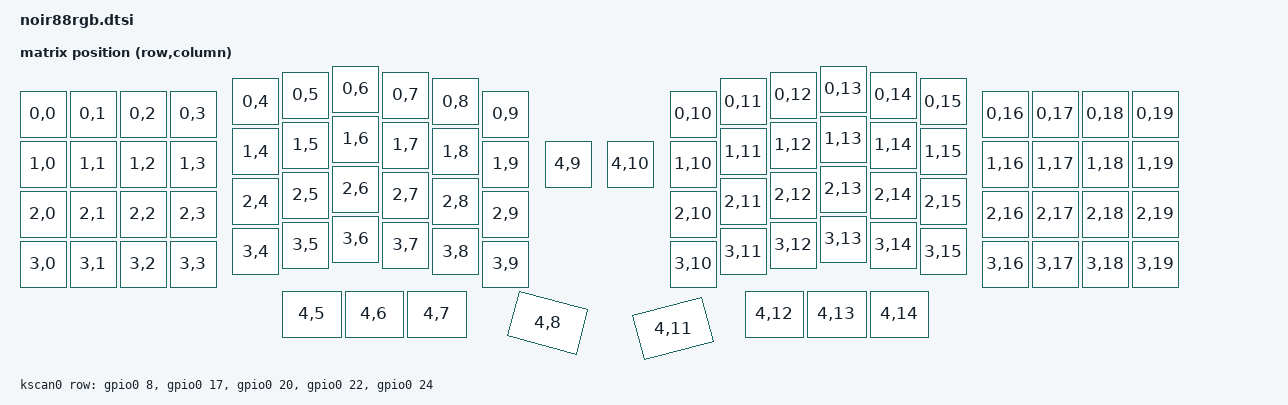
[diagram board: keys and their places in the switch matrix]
/*
 * Copyright (c) 2020 Noir Guo
 *
 * SPDX-License-Identifier: MIT
 */

#include <dt-bindings/zmk/matrix_transform.h>
#include <dt-bindings/led/led.h>
#include <physical_layouts.dtsi>

/ {
    noir88_layout0: noir88_layout_0 {
        compatible = "zmk,physical-layout";
        display-name = "Noir88 RGB";

        kscan = <&kscan0>;
        transform = <&matrix_transform0>;

        keys  //                     w   h    x    y     rot    rx    ry
            = <&key_physical_attrs 100 100    0   50       0     0     0>
            , <&key_physical_attrs 100 100  100   50       0     0     0>
            , <&key_physical_attrs 100 100  200   50       0     0     0>
            , <&key_physical_attrs 100 100  300   50       0     0     0>
            , <&key_physical_attrs 100 100  425   25       0     0     0>
            , <&key_physical_attrs 100 100  525   12       0     0     0>
            , <&key_physical_attrs 100 100  625    0       0     0     0>
            , <&key_physical_attrs 100 100  725   12       0     0     0>
            , <&key_physical_attrs 100 100  825   25       0     0     0>
            , <&key_physical_attrs 100 100  925   50       0     0     0>
            , <&key_physical_attrs 100 100 1300   50       0     0     0>
            , <&key_physical_attrs 100 100 1400   25       0     0     0>
            , <&key_physical_attrs 100 100 1500   12       0     0     0>
            , <&key_physical_attrs 100 100 1600    0       0     0     0>
            , <&key_physical_attrs 100 100 1700   12       0     0     0>
            , <&key_physical_attrs 100 100 1800   25       0     0     0>
            , <&key_physical_attrs 100 100 1925   50       0     0     0>
            , <&key_physical_attrs 100 100 2025   50       0     0     0>
            , <&key_physical_attrs 100 100 2125   50       0     0     0>
            , <&key_physical_attrs 100 100 2225   50       0     0     0>
            , <&key_physical_attrs 100 100    0  150       0     0     0>
            , <&key_physical_attrs 100 100  100  150       0     0     0>
            , <&key_physical_attrs 100 100  200  150       0     0     0>
            , <&key_physical_attrs 100 100  300  150       0     0     0>
            , <&key_physical_attrs 100 100  425  125       0     0     0>
            , <&key_physical_attrs 100 100  525  112       0     0     0>
            , <&key_physical_attrs 100 100  625  100       0     0     0>
            , <&key_physical_attrs 100 100  725  112       0     0     0>
            , <&key_physical_attrs 100 100  825  125       0     0     0>
            , <&key_physical_attrs 100 100  925  150       0     0     0>
            , <&key_physical_attrs 100 100 1300  150       0     0     0>
            , <&key_physical_attrs 100 100 1400  125       0     0     0>
            , <&key_physical_attrs 100 100 1500  112       0     0     0>
            , <&key_physical_attrs 100 100 1600  100       0     0     0>
            , <&key_physical_attrs 100 100 1700  112       0     0     0>
            , <&key_physical_attrs 100 100 1800  125       0     0     0>
            , <&key_physical_attrs 100 100 1925  150       0     0     0>
            , <&key_physical_attrs 100 100 2025  150       0     0     0>
            , <&key_physical_attrs 100 100 2125  150       0     0     0>
            , <&key_physical_attrs 100 100 2225  150       0     0     0>
            , <&key_physical_attrs 100 100    0  250       0     0     0>
            , <&key_physical_attrs 100 100  100  250       0     0     0>
            , <&key_physical_attrs 100 100  200  250       0     0     0>
            , <&key_physical_attrs 100 100  300  250       0     0     0>
            , <&key_physical_attrs 100 100  425  225       0     0     0>
            , <&key_physical_attrs 100 100  525  212       0     0     0>
            , <&key_physical_attrs 100 100  625  200       0     0     0>
            , <&key_physical_attrs 100 100  725  212       0     0     0>
            , <&key_physical_attrs 100 100  825  225       0     0     0>
            , <&key_physical_attrs 100 100  925  250       0     0     0>
            , <&key_physical_attrs 100 100 1300  250       0     0     0>
            , <&key_physical_attrs 100 100 1400  225       0     0     0>
            , <&key_physical_attrs 100 100 1500  212       0     0     0>
            , <&key_physical_attrs 100 100 1600  200       0     0     0>
            , <&key_physical_attrs 100 100 1700  212       0     0     0>
            , <&key_physical_attrs 100 100 1800  225       0     0     0>
            , <&key_physical_attrs 100 100 1925  250       0     0     0>
            , <&key_physical_attrs 100 100 2025  250       0     0     0>
            , <&key_physical_attrs 100 100 2125  250       0     0     0>
            , <&key_physical_attrs 100 100 2225  250       0     0     0>
            , <&key_physical_attrs 100 100    0  350       0     0     0>
            , <&key_physical_attrs 100 100  100  350       0     0     0>
            , <&key_physical_attrs 100 100  200  350       0     0     0>
            , <&key_physical_attrs 100 100  300  350       0     0     0>
            , <&key_physical_attrs 100 100  425  325       0     0     0>
            , <&key_physical_attrs 100 100  525  312       0     0     0>
            , <&key_physical_attrs 100 100  625  300       0     0     0>
            , <&key_physical_attrs 100 100  725  312       0     0     0>
            , <&key_physical_attrs 100 100  825  325       0     0     0>
            , <&key_physical_attrs 100 100  925  350       0     0     0>
            , <&key_physical_attrs 100 100 1300  350       0     0     0>
            , <&key_physical_attrs 100 100 1400  325       0     0     0>
            , <&key_physical_attrs 100 100 1500  312       0     0     0>
            , <&key_physical_attrs 100 100 1600  300       0     0     0>
            , <&key_physical_attrs 100 100 1700  312       0     0     0>
            , <&key_physical_attrs 100 100 1800  325       0     0     0>
            , <&key_physical_attrs 100 100 1925  350       0     0     0>
            , <&key_physical_attrs 100 100 2025  350       0     0     0>
            , <&key_physical_attrs 100 100 2125  350       0     0     0>
            , <&key_physical_attrs 100 100 2225  350       0     0     0>
            , <&key_physical_attrs 125 100  525  450       0     0     0>
            , <&key_physical_attrs 125 100  650  450       0     0     0>
            , <&key_physical_attrs 125 100  775  450       0     0     0>
            , <&key_physical_attrs 150 100 1000  450    1500  1000   450>
            , <&key_physical_attrs 100 100 1050  150       0     0     0>
            , <&key_physical_attrs 100 100 1175  150       0     0     0>
            , <&key_physical_attrs 150 100 1225  500 (-1500)  1225   500>
            , <&key_physical_attrs 125 100 1450  450       0     0     0>
            , <&key_physical_attrs 125 100 1575  450       0     0     0>
            , <&key_physical_attrs 125 100 1700  450       0     0     0>
            ;
    };
};

&pinctrl {
    spi3_default: spi3_default {
        group1 {
            psels = <NRF_PSEL(SPIM_MOSI, 0, 6)>;
        };
    };

    spi3_sleep: spi3_sleep {
        group1 {
            psels = <NRF_PSEL(SPIM_MOSI, 0, 6)>;
            low-power-enable;
		};
	};
};

&spi3 {
	compatible = "nordic,nrf-spim";
	status = "okay";

	pinctrl-0 = <&spi3_default>;
	pinctrl-1 = <&spi3_sleep>;
	pinctrl-names = "default", "sleep";


	led_strip: ws2812@0 {
		compatible = "worldsemi,ws2812-spi";
		label = "WS2812";

		/* SPI */
		reg = <0>; /* ignored, but necessary for SPI bindings */
		spi-max-frequency = <4000000>;

		/* WS2812 */
		chain-length = <44>; /* There are per-key RGB, but the first 6 are underglow */
		spi-one-frame = <0x70>;
		spi-zero-frame = <0x40>;
		color-mapping = <LED_COLOR_ID_GREEN LED_COLOR_ID_RED LED_COLOR_ID_BLUE>;
	};
};

/ {
    chosen {
        zmk,kscan = &kscan0;
        zmk,physical-layouts = &noir88_layout0;
        zmk,underglow = &led_strip;
    	zmk,underglow = &led_strip;
    };

    default_transform: keymap_transform_0 {
        compatible = "zmk,matrix-transform";
        columns = <20>;
        rows = <5>;
// ------------------------------------------------------------------------------------------------------------
// |SW1    |SW2    |SW3    |SW4    |SW5    |SW6    |SW7    |SW8    |SW9   |SW10   |                  |SW55   |SW54    |SW53    |SW52   |SW51    |SW50     |SW49    |SW48    |SW47   |SW46   |
// |SW11   |SW12   |SW13   |SW14   |SW15   |SW16   |SW17   |SW18   |SW19  |SW20   |                  |SW65   |SW64    |SW63    |SW62   |SW61    |SW60     |SW59    |SW58    |SW57   |SW56   |
// |SW21   |SW22   |SW23   |SW24   |SW25   |SW26   |SW27   |SW28   |SW29  |SW30   |                  |SW75   |SW74    |SW73    |SW72   |SW71    |SW70     |SW69    |SW68    |SW67   |SW66   |
// |SW31   |SW32   |SW33   |SW34   |SW35   |SW36   |SW37   |SW38   |SW39  |SW40   |                  |SW85   |SW84    |SW83    |SW82   |SW81    |SW80     |SW79    |SW78    |SW77   |SW76   |
//                                                 |SW41   |SW42   |SW43  |SW44   |U1    | |U2       |SW89   |SW88    |SW87    |SW86   |

        map = <
   RC(0,0) RC(0,1) RC(0,2) RC(0,3) RC(0,4) RC(0,5) RC(0,6) RC(0,7) RC(0,8) RC(0,9)                  RC(0,10) RC(0,11) RC(0,12) RC(0,13) RC(0,14) RC(0,15) RC(0,16) RC(0,17) RC(0,18) RC(0,19)
   RC(1,0) RC(1,1) RC(1,2) RC(1,3) RC(1,4) RC(1,5) RC(1,6) RC(1,7) RC(1,8) RC(1,9)                  RC(1,10) RC(1,11) RC(1,12) RC(1,13) RC(1,14) RC(1,15) RC(1,16) RC(1,17) RC(1,18) RC(1,19)
   RC(2,0) RC(2,1) RC(2,2) RC(2,3) RC(2,4) RC(2,5) RC(2,6) RC(2,7) RC(2,8) RC(2,9)                  RC(2,10) RC(2,11) RC(2,12) RC(2,13) RC(2,14) RC(2,15) RC(2,16) RC(2,17) RC(2,18) RC(2,19)
   RC(3,0) RC(3,1) RC(3,2) RC(3,3) RC(3,4) RC(3,5) RC(3,6) RC(3,7) RC(3,8) RC(3,9)                  RC(3,10) RC(3,11) RC(3,12) RC(3,13) RC(3,14) RC(3,15) RC(3,16) RC(3,17) RC(3,18) RC(3,19)
                                                   RC(4,5) RC(4,6) RC(4,7) RC(4,8) RC(4,9) RC(4,10) RC(4,11) RC(4,12) RC(4,13) RC(4,14) 

        >;
    };

    kscan0: kscan {
        compatible = "zmk,kscan-gpio-matrix";
        diode-direction = "col2row";
        wakeup-source;

        row-gpios
            = <&gpio0 8 (GPIO_ACTIVE_HIGH | GPIO_PULL_DOWN)>
            , <&gpio0 17 (GPIO_ACTIVE_HIGH | GPIO_PULL_DOWN)>
            , <&gpio0 20 (GPIO_ACTIVE_HIGH | GPIO_PULL_DOWN)>
            , <&gpio0 22 (GPIO_ACTIVE_HIGH | GPIO_PULL_DOWN)>
            , <&gpio0 24 (GPIO_ACTIVE_HIGH | GPIO_PULL_DOWN)>
        ;


    };

};

&noir88_layout0{

	transform = <&default_transform>;

	kscan = <&kscan0>;

};



zephyr_udc0: &usbd { 

    compatible = "nordic,nrf-usbd"; 

    status = "okay"; 

};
